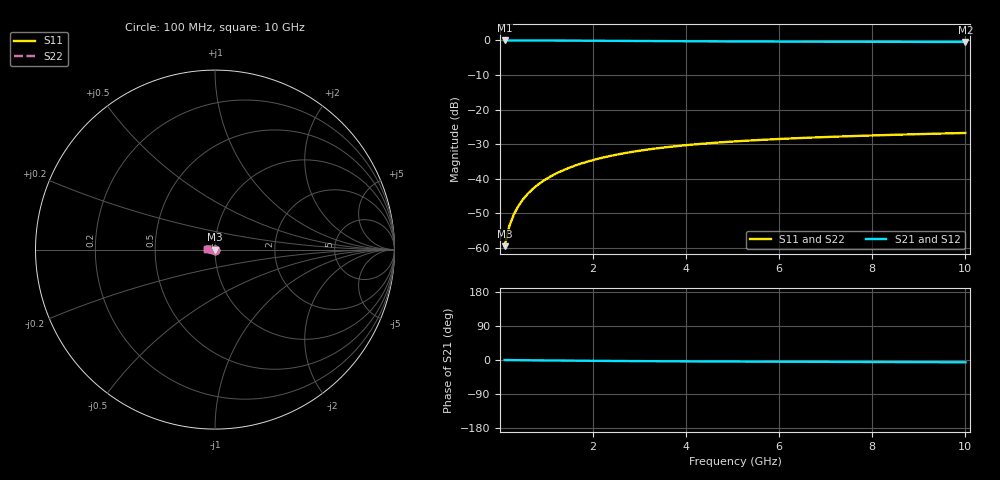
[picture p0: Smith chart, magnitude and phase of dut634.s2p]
! Touchstone file exported from HFSS 2024.1.0
!  File:  C:/UserFiles/LocalFiles/RDL_TSV_Batchsim/temp_TSV1_634_1779790292.aedt
!  Generated:  06:16:39 PM May 26, 2026
!  Design:  TSV1
!  Project:  temp_TSV1_634_1779790292
!  Setup:  Setup1
!  Solution:  Sweep
! Variables:
!  dtsv = 7.07um
!  hbump = 3um
!  htsv = 96.78um
!  lrdl = 252.1521522um
!  p = 40
!  p1 = 40.7um
!  t = 500um
!  trdl = 3um
!  wrdl = 24.89489489um
# GHz S MA R 50.000000
! Terminal data exported
! Port[1] = TSV22_T1
! Port[2] = TSV22_T2
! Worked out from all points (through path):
!   100 points, 100 MHz to 10 GHz, reference 50 ohm
!   highest |S21| = 0.00 dB at 100 MHz (marker M1); lowest = -0.4 dB at 10 GHz (marker M2)
!   lowest |S11| = -59.5 dB at 100 MHz (marker M3), VSWR 1.00, Z = 50 - j0.102 ohm
!   |S11| at or under -10 dB: start of sweep to end of sweep
!   |S22| runs from -59.5 to -26.8 dB; largest |S21 - S12| = 5.1e-15
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0.1  0.001059 -73.6  0.9996 -0.1  0.9996 -0.1  0.001059 -73.6
! Gamma 0 0 0 0
! Port Impedance 50 0 50 0
0.2  0.00206 -83.9  0.9995 -0.2  0.9995 -0.2  0.00206 -83.9
0.3  0.003071 -88.6  0.9994 -0.4  0.9994 -0.4  0.003071 -88.6
0.4  0.004081 -91.8  0.9992 -0.5  0.9992 -0.5  0.004081 -91.8
0.5  0.005085 -94.3  0.9989 -0.6  0.9989 -0.6  0.005085 -94.3
0.6  0.006083 -96.5  0.9986 -0.7  0.9986 -0.7  0.006083 -96.5
0.7  0.007071 -98.6  0.9982 -0.8  0.9982 -0.8  0.007071 -98.6
0.8  0.008049 -100.5  0.9978 -1.0  0.9978 -1.0  0.008049 -100.5
0.9  0.009016 -102.3  0.9973 -1.1  0.9973 -1.1  0.009016 -102.3
1.1  0.01091 -105.8  0.9963 -1.3  0.9963 -1.3  0.01091 -105.8
1.4  0.01364 -110.8  0.9944 -1.6  0.9944 -1.6  0.01364 -110.8
1.6  0.01537 -113.9  0.993 -1.8  0.993 -1.8  0.01537 -113.9
1.8  0.01703 -116.9  0.9915 -2.0  0.9915 -2.0  0.01703 -116.9
2.1  0.01938 -121.2  0.9892 -2.3  0.9892 -2.3  0.01938 -121.2
2.5  0.02225 -126.6  0.9859 -2.6  0.9859 -2.6  0.02225 -126.6
2.9  0.02483 -131.6  0.9827 -2.9  0.9827 -2.9  0.02483 -131.6
3.4  0.02766 -137.5  0.9788 -3.2  0.9788 -3.2  0.02766 -137.5
4.2  0.03145 -145.8  0.973 -3.7  0.973 -3.7  0.03145 -145.8
5.1  0.03485 -153.9  0.9675 -4.1  0.9675 -4.1  0.03485 -153.9
6.7  0.0394 -165.9  0.9601 -4.8  0.9601 -4.8  0.0394 -165.9
8.4  0.04306 -176.3  0.9546 -5.4  0.9546 -5.4  0.04306 -176.3
10  0.04595 175.5  0.9509 -6.0  0.9509 -6.0  0.04595 175.5
